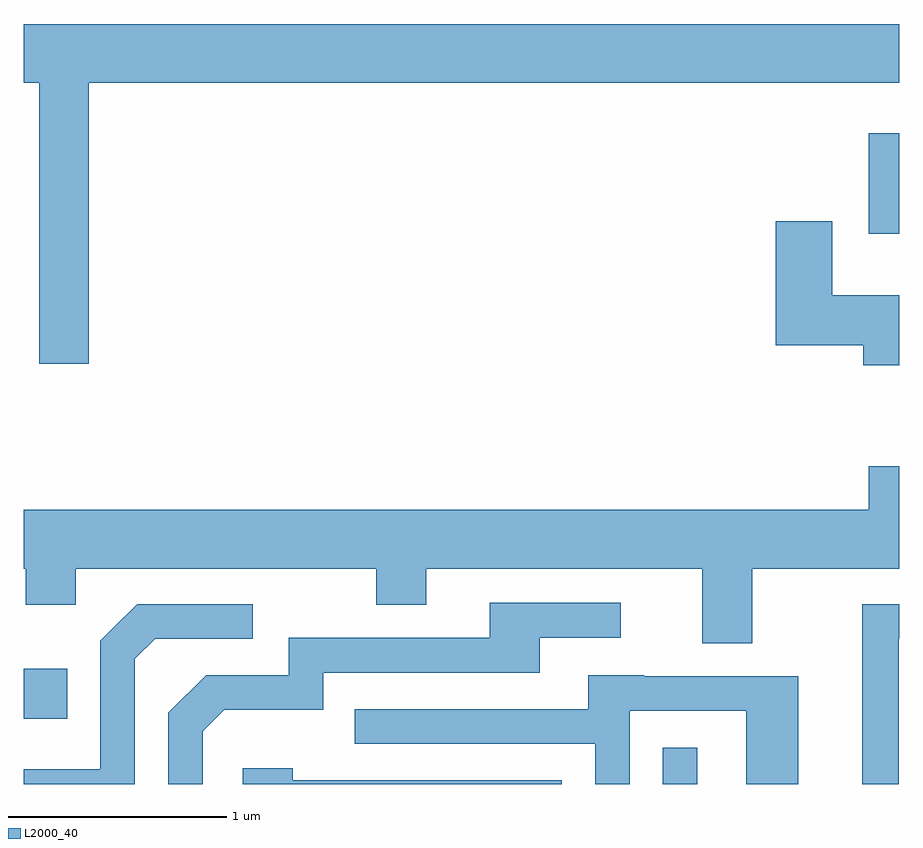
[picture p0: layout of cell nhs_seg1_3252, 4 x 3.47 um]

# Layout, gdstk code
import gdstk
lib = gdstk.Library(unit=1e-6, precision=1e-09)
def R(c, l, rs):  # rectangles x0, y0, x1, y1
    for r in rs: c.add(gdstk.rectangle(r[:2], r[2:], *l))
def P(c, l, *ps):  # polygons
    for p in ps: c.add(gdstk.Polygon(p, *l))
L2000_40 = (2000, 40)

nhs_seg1_3252 = lib.new_cell('nhs_seg1_3252')
R(nhs_seg1_3252, L2000_40, [(286.531,889.712,286.689,889.878), (283.611,890.011,283.809,890.239), (287.471,892.226,287.611,892.684)])
P(nhs_seg1_3252, L2000_40, [(283.909,892.916),(287.611,892.916),(287.611,893.184),(283.611,893.184),(283.611,892.916),(283.681,892.916),(283.681,891.631),(283.909,891.631)],
  [(287.611,891.944),(287.304,891.944),(287.304,892.284),(287.046,892.284),(287.046,891.716),(287.446,891.716),(287.446,891.626),(287.611,891.626)],
  [(286.939,890.696),(287.611,890.696),(287.611,891.164),(287.471,891.164),(287.471,890.964),(283.611,890.964),(283.611,890.696),(283.621,890.696),(283.621,890.531),(283.849,890.531),(283.849,890.696),(285.221,890.696),(285.221,890.531),(285.449,890.531),(285.449,890.696),(286.711,890.696),(286.711,890.356),(286.939,890.356)],
  [(284.429,889.954),(284.527,890.051),(284.979,890.051),(284.979,890.221),(285.969,890.221),(285.969,890.381),(286.338,890.381),(286.338,890.539),(285.741,890.539),(285.741,890.379),(284.821,890.379),(284.821,890.209),(284.444,890.209),(284.271,890.037),(284.271,889.712),(284.429,889.712)],
  [(284.119,890.284),(284.212,890.376),(284.658,890.376),(284.658,890.534),(284.129,890.534),(284.013,890.418),(283.961,890.367),(283.961,889.779),(283.611,889.779),(283.611,889.712),(284.119,889.712)],
  [(287.609,890.376),(287.611,890.376),(287.611,890.534),(287.441,890.534),(287.441,889.712),(287.609,889.712)],
  [(286.379,890.046),(286.911,890.046),(286.911,889.712),(287.149,889.712),(287.149,890.204),(286.445,890.204),(286.445,890.209),(286.191,890.209),(286.191,890.054),(285.123,890.054),(285.123,889.896),(286.221,889.896),(286.221,889.712),(286.379,889.712)],
  [(286.069,889.729),(284.839,889.729),(284.839,889.784),(284.611,889.784),(284.611,889.712),(286.069,889.712)])

lib.write_gds('nhs_seg1_3252.gds')
